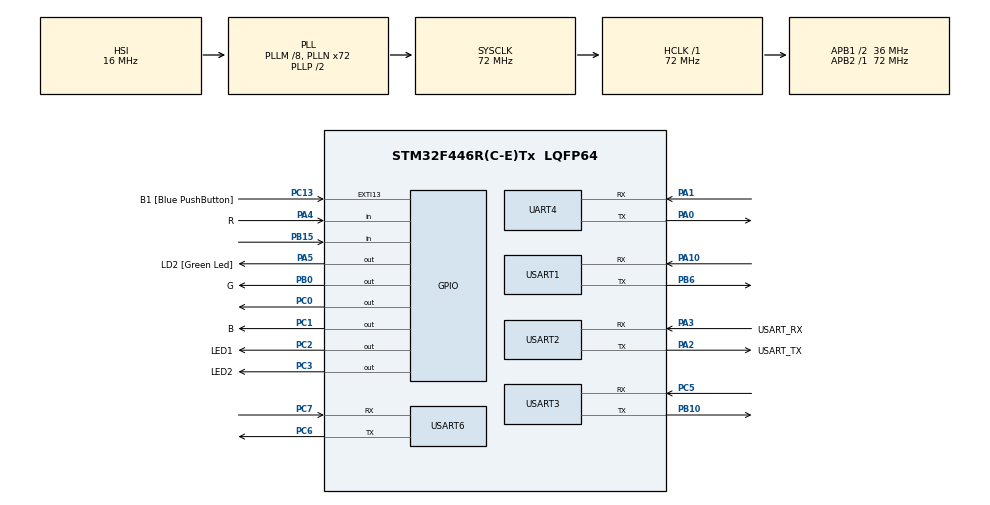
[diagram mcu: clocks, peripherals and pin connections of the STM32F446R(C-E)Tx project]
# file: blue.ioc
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Mcu.Family=STM32F4
Mcu.Name=STM32F446R(C-E)Tx
Mcu.Package=LQFP64
NVIC.PriorityGroup=NVIC_PRIORITYGROUP_1
NVIC.USART1_IRQn=true\:0\:0\:false\:false\:true\:true\:true\:true
PA0-WKUP.Mode=Asynchronous
PA0-WKUP.Signal=UART4_TX
PA1.Mode=Asynchronous
PA1.Signal=UART4_RX
PA10.Mode=Asynchronous
PA10.Signal=USART1_RX
PA13.GPIO_Label=TMS
PA13.Mode=Serial_Wire
PA13.Signal=SYS_JTMS-SWDIO
PA14.GPIO_Label=TCK
PA14.Mode=Serial_Wire
PA14.Signal=SYS_JTCK-SWCLK
PA2.GPIO_Label=USART_TX
PA2.Mode=Asynchronous
PA2.Signal=USART2_TX
PA3.GPIO_Label=USART_RX
PA3.Mode=Asynchronous
PA3.Signal=USART2_RX
PA4.GPIO_Label=R
PA4.Signal=GPIO_Input
PA5.GPIO_Label=LD2 [Green Led]
PA5.Signal=GPIO_Output
PB0.GPIO_Label=G
PB0.Signal=GPIO_Output
PB1.Signal=SDIO_D2
PB10.Mode=Asynchronous
PB10.Signal=USART3_TX
PB15.Signal=GPIO_Input
PB3.GPIO_Label=SWO
PB3.Signal=SYS_JTDO-SWO
PB6.Mode=Asynchronous
PB6.Signal=USART1_TX
PC0.Signal=GPIO_Output
PC1.GPIO_Label=B
PC1.Signal=GPIO_Output
PC11.Signal=SDIO_D3
PC13.GPIO_Label=B1 [Blue PushButton]
PC13.GPIO_ModeDefaultEXTI=GPIO_MODE_IT_FALLING
PC13.Signal=GPXTI13
PC14-OSC32_IN.Mode=LSE-External-Oscillator
PC14-OSC32_IN.Signal=RCC_OSC32_IN
PC15-OSC32_OUT.Mode=LSE-External-Oscillator
PC15-OSC32_OUT.Signal=RCC_OSC32_OUT
PC2.GPIO_Label=LED1
PC2.Signal=GPIO_Output
PC3.GPIO_Label=LED2
PC3.Signal=GPIO_Output
PC5.Mode=Asynchronous
PC5.Signal=USART3_RX
PC6.Mode=Asynchronous
PC6.Signal=USART6_TX
PC7.Mode=Asynchronous
PC7.Signal=USART6_RX
PC9.Signal=SDIO_D1
PH0-OSC_IN.Mode=HSE-External-Oscillator
PH0-OSC_IN.Signal=RCC_OSC_IN
PH1-OSC_OUT.Mode=HSE-External-Oscillator
PH1-OSC_OUT.Signal=RCC_OSC_OUT
ProjectManager.HeapSize=0x200
ProjectManager.StackSize=0x400
ProjectManager.TargetToolchain=STM32CubeIDE
RCC.48MHZClocksFreq_Value=84000000
RCC.AHBFreq_Value=72000000
RCC.APB1CLKDivider=RCC_HCLK_DIV2
RCC.APB1Freq_Value=36000000
RCC.APB1TimFreq_Value=72000000
RCC.APB2Freq_Value=72000000
RCC.APB2TimFreq_Value=72000000
RCC.CortexFreq_Value=72000000
RCC.FLatency-AdvancedSettings=FLASH_LATENCY_2
RCC.HCLKFreq_Value=72000000
RCC.HSE_VALUE=8000000
RCC.HSI_VALUE=16000000
RCC.PLLM=8
RCC.PLLN=72
RCC.PLLQ=3
RCC.SYSCLKFreq_VALUE=72000000
RCC.SYSCLKSource=RCC_SYSCLKSOURCE_PLLCLK
RCC.USBFreq_Value=48000000
RCC.VCOOutputFreq_Value=144000000
UART4.VirtualMode=Asynchronous
USART1.VirtualMode=VM_ASYNC
USART2.VirtualMode=VM_ASYNC
USART3.VirtualMode=VM_ASYNC
USART6.VirtualMode=VM_ASYNC
board=NUCLEO-F446RE

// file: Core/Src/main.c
/* USER CODE BEGIN Header */
/**
  ******************************************************************************
  * @file           : main.c
  * @brief          : Main program body
  ******************************************************************************
  * @attention
  *
  * Copyright (c) 2025 STMicroelectronics.
  * All rights reserved.
  *
  * This software is licensed under terms that can be found in the LICENSE file
  * in the root directory of this software component.
  * If no LICENSE file comes with this software, it is provided AS-IS.
  *
  ******************************************************************************
  */
/* USER CODE END Header */
#include "main.h"
#include "usart.h"
#include "gpio.h"

/* USER CODE BEGIN Includes */
#include "stdio.h"
#include "MD03.h"
#include "servoForSTM.h"
#include "AirSet.h"
#include "math.h"
/* USER CODE END Includes */

/* USER CODE BEGIN PM */
#define MAX(i,j)(((i)>(j)) ? (i):(j))
#define ABS(X)((X) < 0 ? (-(X)):(X))
#define CHANGE_TO_RAD(X)((X)*pi/180.)
double normalize_angle(double i);
double LIMIT_ACCEL(double v, double old_v);
/* USER CODE END PM */

/* USER CODE BEGIN PV */
#define UP 0
#define RIGHT 1
#define DOWN 2
#define LEFT 3
#define START 4
#define SELECT 5
#define TRIANGLE 6
#define CIRCLE 7
#define CROSS 8
#define SQUARE 9
#define L2 10
#define R2 11
#define L1 12
#define R1 13

#define Motor_UPPER_RIGHT 0
#define Motor_UPPER_LEFT 1
#define Motor_LOWER_LEFT 2
#define Motor_LOWER_RIGHT 3

#define pi 3.1415926

#define Rotate_Small_Speed CHANGE_TO_RAD(1.) //[rad/s]
#define Rotate_Max_Speed CHANGE_TO_RAD(90.) //[rad/s]

#define Rotate_P_Gain 0.007
#define Rotate_D_Gain 0.005
#define Frame_Length 0.3 //[m]
#define PD_const 2500

#define SERVO_RIGHT 1900
#define SERVO_LEFT  600

#define dt 0.05 //50ms timer interrupt

#define EPS 50  // ゼロ判定�??��閾値

/* USER CODE END PV */

void SystemClock_Config(void);

/* USER CODE BEGIN 0 */
uint8_t DS3_BTNS_DATMAP_BYTE[16] = {
    2, 2, 2, 2, 2, 2,/* 0, 0,*/ 2, 2, 2, 1, 1, 1, 1, 1
};
uint8_t DS3_BTNS_DATMAP_BITMASK[16] = {
    0x03, 0x0C, 0x03, 0x0C, 0x03, 0x0C,/* 0x00, 0x00,*/
    0x10, 0x40, 0x20, 0x01, 0x04, 0x10, 0x02, 0x08,
};
uint8_t DS3_BTNS_DATMAP_FLAGBIT[16] = {
    0x01, 0x04, 0x02, 0x08, 0x03, 0x0C,/* 0x00, 0x00,*/
    0x10, 0x40, 0x20, 0x01, 0x04, 0x10, 0x02, 0x08,
};
uint8_t SBDBTRxData[8];
int buttonsIsPressed[16] = {0};
float LX = 0.0f;
float LY = 0.0f;
float RX = 0.0f;
float RY = 0.0f;

//フラグ?��?覧.
int is_relay_on = 0;
short is_PD_first = 0;
short power_down_mode = 0;
int v_goal = 0;

int is_air_on_shoot = 0;
int is_air_on_arm = 0;
int servo_rotate_arm = 0;
int servo_rotate_emit = 0;

//ジャイロ
float deg;
float deg_rad;
int deg_raw;

//PD制御用の変数
float deg_start_rad;
float target_rad = 0.;
float now_rad;
float error;
float old_error;
float rad;
float PD_v_rot;

//モーターの出?��?
float v_UPPER_RIGHT = 0;
float v_LOWER_RIGHT = 0;
float v_LOWER_LEFT  = 0;
float v_UPPER_LEFT  = 0;
float old_v_UPPER_RIGHT = 0;
float old_v_LOWER_RIGHT = 0;
float old_v_LOWER_LEFT = 0;
float old_v_UPPER_LEFT = 0;

#define VMAX_normal 550.0
#define VMAX_down 150.0
#define AMAX 0.5

/* USER CODE END 0 */

int main(void)
{
  /* USER CODE BEGIN 1 */
	setbuf(stdout, NULL);
  /* USER CODE END 1 */

  /* MCU Configuration--------------------------------------------------------*/

  /* Reset of all peripherals, Initializes the Flash interface and the Systick. */
  HAL_Init();

  /* Configure the system clock */
  SystemClock_Config();

  /* Initialize all configured peripherals */
  MX_GPIO_Init();
  MX_USART2_UART_Init();
  MX_USART1_UART_Init();
  MX_UART4_Init();
  MX_USART3_UART_Init();
  MX_USART6_UART_Init();
  /* USER CODE BEGIN 2 */
  HAL_UART_Receive_IT(&huart1, SBDBTRxData, 8);

  uint8_t init_data[]={0xAA,0x00,0x3D,0x01,0x08};
  uint8_t req_data[]={0xAA,0x01,0x1A,0x02};
  uint8_t rec_data[4];

    HAL_Delay(500);

    HAL_UART_Transmit(&huart4, init_data, 5 , 100);
    HAL_UART_Receive(&huart4, rec_data, 2, 100);

  /* USER CODE END 2 */

  /* Infinite loop */
  while (1)
  {

    /* USER CODE BEGIN 3 */
	  //リレーのONとOFF.
	  if(buttonsIsPressed[START] != 0){
		  if(is_relay_on == 0){
			  is_relay_on = GPIO_PIN_SET;
			  //printf("ON\r\n");
		}else{
			is_relay_on = GPIO_PIN_RESET;
			//printf("OFF\r\n");
		}
		HAL_GPIO_WritePin(GPIOC, GPIO_PIN_0, is_relay_on);
		HAL_GPIO_WritePin(GPIOC, GPIO_PIN_3, is_relay_on);
		HAL_Delay(300);
	  }

	  //ジャイロ変数の定義.
	  if(HAL_UART_Transmit(&huart4, req_data, 4 , 100)==HAL_OK){
		  if (HAL_UART_Receive(&huart4, rec_data, 2, 100)==HAL_OK) {
			  if (rec_data[0]==0xBB && rec_data[1]==2){
				  if (HAL_UART_Receive(&huart4, rec_data, 2, 100)==HAL_OK){
					  deg_raw=rec_data[0] | (rec_data[1]<<8);
		  			  deg=(float)deg_raw/16;
		  			  deg_rad = CHANGE_TO_RAD(deg);
		  			  deg_rad = normalize_angle(deg_rad);
		  		  }
		  	  }
		  }
	  }

	  //?��?ープLED
	  if(buttonsIsPressed[TRIANGLE] != 0){
		  if(v_goal == 0){
			  v_goal = 1;
			  HAL_GPIO_WritePin(GPIOA, GPIO_PIN_4, GPIO_PIN_SET);	//R
			  HAL_GPIO_WritePin(GPIOB, GPIO_PIN_0, GPIO_PIN_SET);	//G
			  HAL_GPIO_WritePin(GPIOC, GPIO_PIN_1, GPIO_PIN_SET);	//B
			  HAL_Delay(300);
		  }else{
			  v_goal = 0;
			  HAL_GPIO_WritePin(GPIOA, GPIO_PIN_4, GPIO_PIN_RESET);
			  HAL_GPIO_WritePin(GPIOB, GPIO_PIN_0, GPIO_PIN_RESET);
			  HAL_GPIO_WritePin(GPIOC, GPIO_PIN_1, GPIO_PIN_RESET);
			  HAL_Delay(300);
		  }
	  }

	  //ボタンにおける回転制御.
	  if(is_relay_on == GPIO_PIN_SET){
		  if(buttonsIsPressed[R1]){
			  target_rad += CHANGE_TO_RAD(90.);
			  HAL_Delay(300);
		  }
		  if(buttonsIsPressed[L1]){
			  target_rad -= CHANGE_TO_RAD(90.);
			  HAL_Delay(300);
		  }
	  }

	  //PD制御で車体安定させた?��?.
	  if(is_PD_first == 0){
		  deg_start_rad = deg_rad;
		  old_error = 0.0;
		  is_PD_first = 1;
	  }

	  if(buttonsIsPressed[SQUARE] != 0){
		  deg_start_rad = deg_rad;
		  old_error = 0.0;
	  }

	  //現在の角度.
	  now_rad = deg_rad - deg_start_rad;

	  error = normalize_angle(normalize_angle(target_rad) - now_rad);

	  rad = Rotate_P_Gain * error + Rotate_D_Gain*(error - old_error);
	  PD_v_rot = rad / dt;

	  //微小量を無?????��?��??��?��???��?��??��?��????��?��??��?��???��?��??��?��?.
	  if(ABS(target_rad - now_rad) < Rotate_Small_Speed) PD_v_rot = 0;

	  //?��?大速度制?��?
	  if(ABS(PD_v_rot) > Rotate_Max_Speed) PD_v_rot = Rotate_Max_Speed * (PD_v_rot / ABS(PD_v_rot));

	  //PD_v_rot = 0;//PD制御を無?��?

	  //printf("%f, %f, %f, %f, %f\r\n", deg_rad, now_rad, target_rad, error, PD_v_rot);
	  /*
	  //アー?��?の伸縮
	  if(buttonsIsPressed[UP]){
	  	  if(is_air_on_arm == 0){
		  	  is_air_on_arm = 1;
		  }else{
		  	  is_air_on_arm = 0;
		  }
		  AirSet(USART3, is_air_on_arm, is_air_on_shoot, 0, 0);
		  HAL_Delay(300);
	  }

	  */
	  //�?連のアー�?の動き
	  if(buttonsIsPressed[UP]){
		  if(servo_rotate_arm != SERVO_LEFT){
			  servo22SetPulse(USART3, 13, 0, SERVO_LEFT);
			  HAL_Delay(1000);
		  }
		  AirSet(USART3, 1, is_air_on_shoot, 0, 0);
		  HAL_Delay(500);
		  servo22SetPulse(USART3, 13, 0, SERVO_RIGHT);
		  HAL_Delay(1000);
		  AirSet(USART3, 0, is_air_on_shoot, 0, 0);
		  servo_rotate_arm = SERVO_RIGHT;
	  }
	  if(buttonsIsPressed[DOWN]){
		  if(servo_rotate_arm != SERVO_RIGHT){
			  servo22SetPulse(USART3, 13, 0, SERVO_RIGHT);
			  HAL_Delay(1000);
		  }
		  AirSet(USART3, 1, is_air_on_shoot, 0, 0);
		  HAL_Delay(500);
		  servo22SetPulse(USART3, 13, 0, SERVO_LEFT);
		  HAL_Delay(1000);
		  AirSet(USART3, 0, is_air_on_shoot, 0, 0);
		  servo_rotate_arm = SERVO_LEFT;
	  }
	  //アー??��?��?の回転
	  if(buttonsIsPressed[RIGHT]){
		  if(servo_rotate_arm != SERVO_RIGHT){
			  servo_rotate_arm = SERVO_RIGHT;
			  //printf("RIGHT");
		  }
		  servo22SetPulse(USART3, 13, 0, servo_rotate_arm);
		  HAL_Delay(300);
	  }
	  if(buttonsIsPressed[LEFT]){
		  if(servo_rotate_arm != SERVO_LEFT){
			  servo_rotate_arm = SERVO_LEFT;
			  //printf("LEFT");
		  }
		  servo22SetPulse(USART3, 13, 0, servo_rotate_arm);
		  HAL_Delay(300);
	  }
	  //?��?出機�?
	  if(buttonsIsPressed[CIRCLE]){
		  AirSet(USART3, 0, 1, 0, 0);
		  HAL_Delay(500);
		  AirSet(USART3, 0, 0, 0, 0);
	  }

	  //出力制限モー?��?
	  if(buttonsIsPressed[CROSS] != 0){
		  power_down_mode = 1;
	  }else{
		  power_down_mode = 0;
	  }

	  if(power_down_mode == 1){
		  //出力制限モー?��?
		  //コートたった時に使?��??��?すそ?��?な方
		  //モーターの回転成�?
		  v_UPPER_RIGHT = VMAX_down/128.f*(LY*sinf(    pi/4.f-deg_rad)+LX*cosf(    pi/4.f-deg_rad)) + PD_v_rot * Frame_Length * PD_const;
		  v_UPPER_LEFT  = VMAX_down/128.f*(LY*sinf(3.f*pi/4.f-deg_rad)+LX*cosf(3.f*pi/4.f-deg_rad)) + PD_v_rot * Frame_Length * PD_const;
		  v_LOWER_LEFT  = VMAX_down/128.f*(LY*sinf(5.f*pi/4.f-deg_rad)+LX*cosf(5.f*pi/4.f-deg_rad)) + PD_v_rot * Frame_Length * PD_const;
		  v_LOWER_RIGHT = VMAX_down/128.f*(LY*sinf(7.f*pi/4.f-deg_rad)+LX*cosf(7.f*pi/4.f-deg_rad)) + PD_v_rot * Frame_Length * PD_const;
		  /*
			  v_UPPER_RIGHT = VMAX_down/128.f*(LX*sinf(    pi/4.f-deg_rad)-LY*cosf(    pi/4.f-deg_rad)) + PD_v_rot * Frame_Length * PD_const;
			  v_UPPER_LEFT  = VMAX_down/128.f*(LX*sinf(3.f*pi/4.f-deg_rad)-LY*cosf(3.f*pi/4.f-deg_rad)) + PD_v_rot * Frame_Length * PD_const;
			  v_LOWER_LEFT  = VMAX_down/128.f*(LX*sinf(5.f*pi/4.f-deg_rad)-LY*cosf(5.f*pi/4.f-deg_rad)) + PD_v_rot * Frame_Length * PD_const;
			  v_LOWER_RIGHT = VMAX_down/128.f*(LX*sinf(7.f*pi/4.f-deg_rad)-LY*cosf(7.f*pi/4.f-deg_rad)) + PD_v_rot * Frame_Length * PD_const;
		   */
	  }else{
		  //通常モー?��?
		  //コートたった時に使?��??��?すそ?��?な方
		  //モーターの回転成�?
		  v_UPPER_RIGHT = VMAX_normal/128.f*(LY*sinf(    pi/4.f-deg_rad)+LX*cosf(    pi/4.f-deg_rad)) + PD_v_rot * Frame_Length * PD_const;
		  v_UPPER_LEFT  = VMAX_normal/128.f*(LY*sinf(3.f*pi/4.f-deg_rad)+LX*cosf(3.f*pi/4.f-deg_rad)) + PD_v_rot * Frame_Length * PD_const;
		  v_LOWER_LEFT  = VMAX_normal/128.f*(LY*sinf(5.f*pi/4.f-deg_rad)+LX*cosf(5.f*pi/4.f-deg_rad)) + PD_v_rot * Frame_Length * PD_const;
		  v_LOWER_RIGHT = VMAX_normal/128.f*(LY*sinf(7.f*pi/4.f-deg_rad)+LX*cosf(7.f*pi/4.f-deg_rad)) + PD_v_rot * Frame_Length * PD_const;
		  /*
			  v_UPPER_RIGHT = VMAX_normal/128.f*(LX*sinf(    pi/4.f-deg_rad)-LY*cosf(    pi/4.f-deg_rad)) + PD_v_rot * Frame_Length * PD_const;
			  v_UPPER_LEFT  = VMAX_normal/128.f*(LX*sinf(3.f*pi/4.f-deg_rad)-LY*cosf(3.f*pi/4.f-deg_rad)) + PD_v_rot * Frame_Length * PD_const;
			  v_LOWER_LEFT  = VMAX_normal/128.f*(LX*sinf(5.f*pi/4.f-deg_rad)-LY*cosf(5.f*pi/4.f-deg_rad)) + PD_v_rot * Frame_Length * PD_const;
			  v_LOWER_RIGHT = VMAX_normal/128.f*(LX*sinf(7.f*pi/4.f-deg_rad)-LY*cosf(7.f*pi/4.f-deg_rad)) + PD_v_rot * Frame_Length * PD_const;
		   */
	  }

	  //printf("%d, %d, %d, %d\r\n",(int)v_UPPER_RIGHT, (int)v_UPPER_LEFT, (int)v_LOWER_LEFT, (int)v_LOWER_RIGHT);

	  //大出力を制??��?��?
	  float v_biggest = ABS(MAX(MAX(v_UPPER_RIGHT,v_UPPER_LEFT),MAX(v_LOWER_RIGHT,v_LOWER_LEFT)));

	  if(v_biggest > VMAX_normal){
		  v_UPPER_RIGHT	*= VMAX_normal / v_biggest;
		  v_UPPER_LEFT	*= VMAX_normal / v_biggest;
		  v_LOWER_LEFT	*= VMAX_normal / v_biggest;
		  v_LOWER_RIGHT	*= VMAX_normal / v_biggest;
	  }

	  //モーターを動かす
	  MD03SetMotor(USART3, Motor_UPPER_RIGHT, (int)v_UPPER_RIGHT);
	  MD03SetMotor(USART3, Motor_UPPER_LEFT, (int)v_UPPER_LEFT);
	  MD03SetMotor(USART3, Motor_LOWER_LEFT, (int)v_LOWER_LEFT);
	  MD03SetMotor(USART3, Motor_LOWER_RIGHT, (int)v_LOWER_RIGHT);

	  old_error = error;
  }
  /* USER CODE END 3 */
}

void SystemClock_Config(void)
{
  RCC_OscInitTypeDef RCC_OscInitStruct = {0};
  RCC_ClkInitTypeDef RCC_ClkInitStruct = {0};

  /** Configure the main internal regulator output voltage
  */
  __HAL_RCC_PWR_CLK_ENABLE();
  __HAL_PWR_VOLTAGESCALING_CONFIG(PWR_REGULATOR_VOLTAGE_SCALE3);

  /** Initializes the RCC Oscillators according to the specified parameters
  * in the RCC_OscInitTypeDef structure.
  */
  RCC_OscInitStruct.OscillatorType = RCC_OSCILLATORTYPE_HSI;
  RCC_OscInitStruct.HSIState = RCC_HSI_ON;
  RCC_OscInitStruct.HSICalibrationValue = RCC_HSICALIBRATION_DEFAULT;
  RCC_OscInitStruct.PLL.PLLState = RCC_PLL_ON;
  RCC_OscInitStruct.PLL.PLLSource = RCC_PLLSOURCE_HSI;
  RCC_OscInitStruct.PLL.PLLM = 8;
  RCC_OscInitStruct.PLL.PLLN = 72;
  RCC_OscInitStruct.PLL.PLLP = RCC_PLLP_DIV2;
  RCC_OscInitStruct.PLL.PLLQ = 3;
  RCC_OscInitStruct.PLL.PLLR = 2;
  if (HAL_RCC_OscConfig(&RCC_OscInitStruct) != HAL_OK)
  {
    Error_Handler();
  }

  /** Initializes the CPU, AHB and APB buses clocks
  */
  RCC_ClkInitStruct.ClockType = RCC_CLOCKTYPE_HCLK|RCC_CLOCKTYPE_SYSCLK
                              |RCC_CLOCKTYPE_PCLK1|RCC_CLOCKTYPE_PCLK2;
  RCC_ClkInitStruct.SYSCLKSource = RCC_SYSCLKSOURCE_PLLCLK;
  RCC_ClkInitStruct.AHBCLKDivider = RCC_SYSCLK_DIV1;
  RCC_ClkInitStruct.APB1CLKDivider = RCC_HCLK_DIV2;
  RCC_ClkInitStruct.APB2CLKDivider = RCC_HCLK_DIV1;

  if (HAL_RCC_ClockConfig(&RCC_ClkInitStruct, FLASH_LATENCY_2) != HAL_OK)
  {
    Error_Handler();
  }
}

/* USER CODE BEGIN 4 */
void Analyze_Raw_Data()
{
    for(int i=0; i<16; i++){
    	int f = (SBDBTRxData[DS3_BTNS_DATMAP_BYTE[i]] & DS3_BTNS_DATMAP_BITMASK[i]) == DS3_BTNS_DATMAP_FLAGBIT[i];
        buttonsIsPressed[i] = f;
    }
    LX = (float)(SBDBTRxData[3]) - 64.0f;
    LY = 64.0f - (float)(SBDBTRxData[4]);
    RX = (float)(SBDBTRxData[5]) - 64.0f;
    RY = 64.0f - (float)(SBDBTRxData[6]);
}

int _write(int file, char *ptr, int len)
{
  HAL_UART_Transmit(&huart2,(uint8_t *)ptr,len,10);
  return len;
}

void HAL_UART_RxCpltCallback(UART_HandleTypeDef *UartHandle)
{
    HAL_UART_Receive_IT(&huart1, SBDBTRxData, 8);
    Analyze_Raw_Data();
}

double normalize_angle(double rad){
	while(rad > pi) rad -= 2*pi;
	while(rad < -pi) rad += 2*pi;
	return rad;
}

double LIMIT_ACCEL(double v, double old_v) {
	float dv = v - old_v;
	if(ABS(LX) >= 0.1 || ABS(LY) >= 0.1){
		if(ABS(old_v) >= EPS){
			if(dv > AMAX)  v = old_v + AMAX;
			if(dv < -AMAX) v = old_v - AMAX;
		}
	}
	return v;
}

/* USER CODE END 4 */

void Error_Handler(void)
{
}
